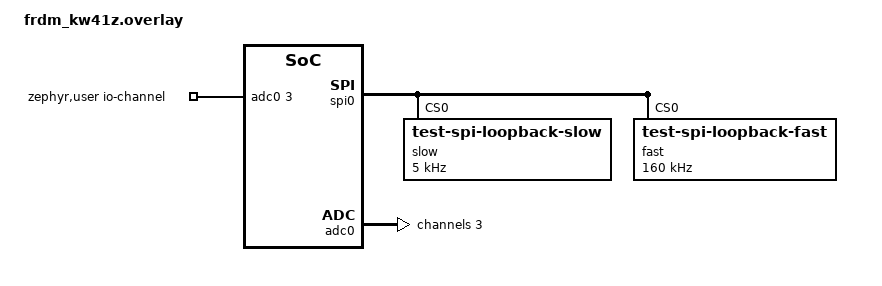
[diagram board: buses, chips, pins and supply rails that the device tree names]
/*
 * Copyright (c) 2022 Kumar Gala <galak@kernel.org>
 *
 * SPDX-License-Identifier: Apache-2.0
 */

&spi0 {
	slow@0 {
		compatible = "test-spi-loopback-slow";
		reg = <0>;
		spi-max-frequency = <5000>;
	};

	fast@0 {
		compatible = "test-spi-loopback-fast";
		reg = <0>;
		spi-max-frequency = <160000>;
	};
};

/ {
	zephyr,user {
		io-channels = <&adc0 3>;
	};
};

&adc0 {
	#address-cells = <1>;
	#size-cells = <0>;
	status = "okay";
	channel@3 {
		reg = <3>;
		zephyr,gain = "ADC_GAIN_1";
		zephyr,reference = "ADC_REF_EXTERNAL0";
		zephyr,acquisition-time = <ADC_ACQ_TIME_DEFAULT>;
		zephyr,resolution = <12>;
	};
};
